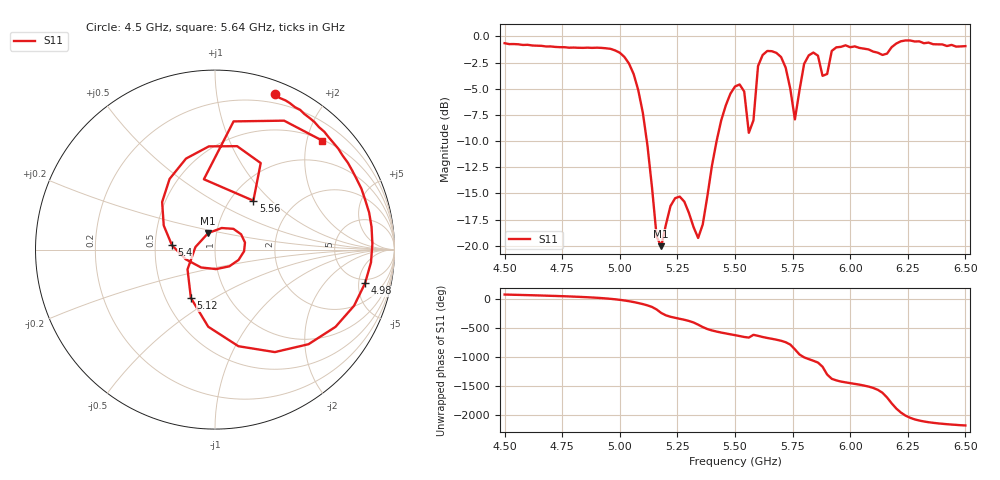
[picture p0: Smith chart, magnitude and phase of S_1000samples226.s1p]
! TOUCHSTONE file generated by CST MICROWAVE STUDIO
! Date and time: Thu Oct 27 10:49:46 2022
! Project name: L.cst
! Parameters = {Di=1.27; Epsilon_r=1.56; InnerDiameter=1.27; Length=2; Lf=10; Lg=60; OuterConductorThickness=0.2921; OuterDiameter=3.6; Wf=3; Wp=41.2; de=1.5; df=6.8; g=0.8; gx=4.08211; gy=0.912702; h=2.34; hf=1.524; px=8.95694; py=14.2236; w=9.7; wx=4.87483; wy=13.3109}
! Header version: 2018
! Port assignment regex: !\s*Touchstone port\s*([0-9]+)\s*=\s*(CST MWS port|CST DS port)\s*([0-9]+|Zmin|Zmax)\s*\(\"(.*)\"\)(\s*mode\s*([0-9]+))?.*
! Touchstone port assignment:
! Touchstone port 1 = CST MWS port 1 ("")
# GHz S DB R 50
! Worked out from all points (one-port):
!   101 points, 4.5 GHz to 6.5 GHz, reference 50 ohm
!   lowest |S11| = -20.0 dB at 5.18 GHz (marker M1), VSWR 1.22, Z = 45.6 + j8.44 ohm
!   |S11| at or under -10 dB: 5.117 GHz to 5.42 GHz (302.8 MHz wide, 5.75 % of centre)
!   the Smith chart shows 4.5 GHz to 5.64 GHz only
!   S11 on the Smith chart (normalised r, x): 4.5 GHz: 0.12, +1.46; 4.98 GHz: 4.27, -6.04; 5.12 GHz: 0.67, -0.40; 5.4 GHz: 0.61, +0.03; 5.56 GHz: 1.27, +0.79; 5.64 GHz: 0.52, +2.29
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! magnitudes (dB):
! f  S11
! 4.5 GHz  -0.7
! 4.76 GHz  -1.0
! 4.98 GHz  -1.3
! 5 GHz  -1.6
! 5.06 GHz  -3.6
! 5.12 GHz  -10.4
! 5.16 GHz  -19.2
! 5.18 GHz  -20.0
! 5.22 GHz  -16.2
! 5.26 GHz  -15.3
! 5.34 GHz  -19.3
! 5.4 GHz  -12.3
! 5.44 GHz  -8.0
! 5.5 GHz  -4.8
! 5.54 GHz  -5.3
! 5.56 GHz  -9.2
! 5.58 GHz  -8.0
! 5.6 GHz  -2.8
! 5.64 GHz  -1.4
! 5.72 GHz  -3.0
! 5.76 GHz  -7.9
! 5.82 GHz  -1.8
! 5.86 GHz  -1.8
! 5.88 GHz  -3.8
! 5.92 GHz  -1.4
! 6 GHz  -1.0
! 6.26 GHz  -0.4
! 6.5 GHz  -0.9
